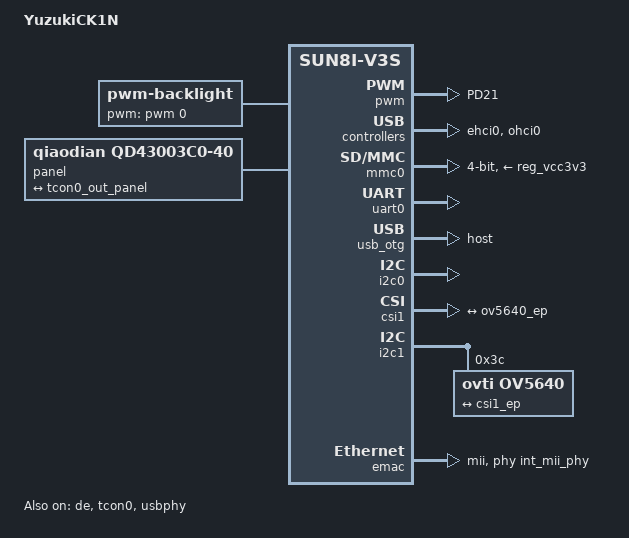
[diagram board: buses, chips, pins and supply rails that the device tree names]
/dts-v1/;
#include "sun8i-v3x-linux.dtsi"
#include "sunxi-common-regulators.dtsi"

/ {
	model = "YuzukiCK1N";
	compatible = "yuzukihd,yuzukick1n", "allwinner,sun8i-v3s";

	aliases {
		serial0 = &uart0;
	};

	chosen {
		stdout-path = "serial0:115200n8";
	};

	backlight: backlight {
		compatible = "pwm-backlight";
		pwms = <&pwm 0 1000000 0>;
		brightness-levels = <0 30 40 50 60 70 100>;
		default-brightness-level = <6>;
	};

	panel {
		compatible = "qiaodian,qd43003c0-40", "simple-panel";
		#address-cells = <1>;
		#size-cells = <0>;
		port {
			reg = <0>;
			#address-cells = <1>;
			#size-cells = <0>;
			panel_input: endpoint {
				reg = <0>;
				remote-endpoint = <&tcon0_out_panel>;
			};
		};
	};
};

&pio {
	pwm0_pins: pwm0_pins {
		pins = "PD21";
		function = "bl_en";
	};

	lcd_rgb666_pins: lcd-rgb666-pe {
		pins = "PE0", "PE1", "PE2", "PE3", "PE4", "PE5",
				"PE6", "PE7", "PE8", "PE9", "PE10", "PE11",
				"PE12", "PE13", "PE14", "PE15", "PE16", "PE17",
				"PE18", "PE19", "PE23", "PE24";
		function = "lcd";
	};
};

&de {
	status = "okay";
};

&pwm {
	pinctrl-names = "default";
	pinctrl-0 = <&pwm0_pins>;
	status = "okay";
};

&tcon0 {
    pinctrl-names = "default";
    pinctrl-0 = <&lcd_rgb666_pins>;
    status = "okay";
};

&tcon0_out {
    tcon0_out_panel: endpoint@0 {
        reg = <0>;
        remote-endpoint = <&panel_input>;
    };
};

&de {
    status = "okay";
};

&ehci0 {
	status = "okay";
};

&ohci0 {
	status = "okay";
};

&mmc0 {
	broken-cd;
	bus-width = <4>;
	vmmc-supply = <&reg_vcc3v3>;
	status = "okay";
};

&uart0 {
	pinctrl-0 = <&uart0_pb_pins>;
	pinctrl-names = "default";
	status = "okay";
};

&usb_otg {
	dr_mode = "host";
	status = "okay";
};

&usbphy {
	usb0_id_det-gpios = <&pio 5 6 GPIO_ACTIVE_HIGH>;
	status = "okay";
};

&i2c0 {
	pinctrl-0 = <&i2c0_pins>;
	pinctrl-names = "default";
	status = "okay";
};

&csi1 {
	pinctrl-names = "default";
	pinctrl-0 = <&csi1_8bit_pins>;
	status = "okay";

	port {
		#address-cells = <1>;
		#size-cells = <0>;

		csi1_ep: endpoint {
			remote-endpoint = <&ov5640_ep>;
			bus-width = <8>;
			hsync-active = <1>;
			vsync-active = <0>;
			data-active = <1>;
			pclk-sample = <1>;
		};
	};
};

&i2c1 {
	pinctrl-names = "default";
	pinctrl-0 = <&i2c1_pe_pins>;
	status = "okay";

	ov5640: camera@3c {
		compatible = "ovti,ov5640";
		reg = <0x3c>;
		pinctrl-names = "default";
		pinctrl-0 = <&csi1_mclk_pin>;
		clocks = <&ccu CLK_CSI1_MCLK>;
		clock-names = "xclk";

		port {
			ov5640_ep: endpoint {
				remote-endpoint = <&csi1_ep>;
				bus-width = <8>;
				hsync-active = <1>;
				vsync-active = <0>;
				data-active = <1>;
				pclk-sample = <1>;
			};
		};
	};
};

&emac {
    phy-handle = <&int_mii_phy>;
    phy-mode = "mii";
    allwinner,leds-active-low;
    status = "okay";
};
